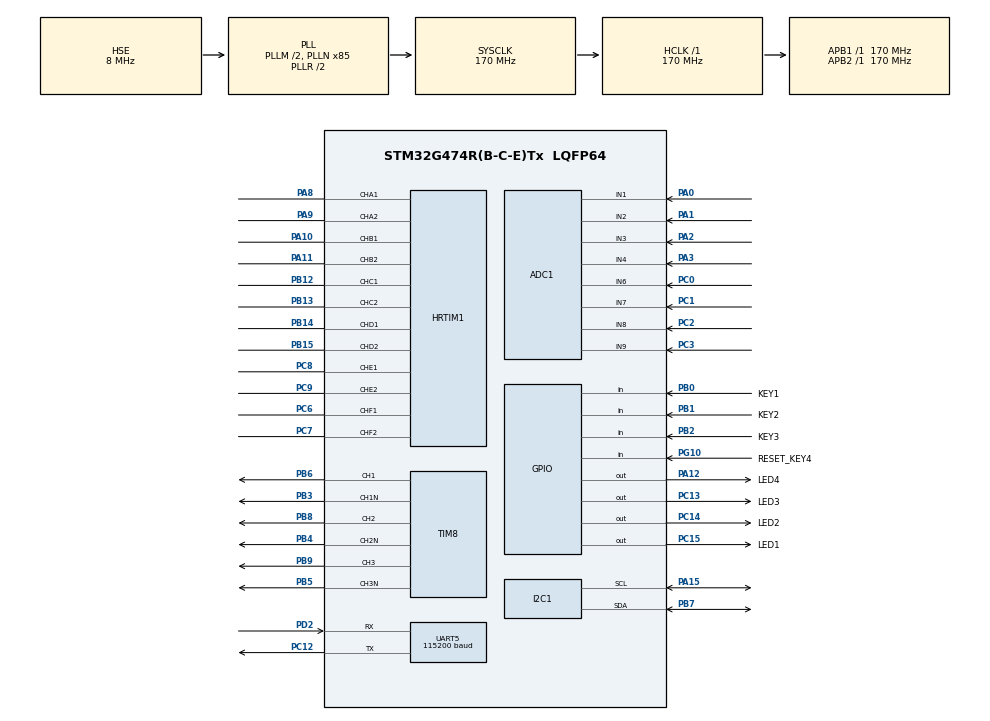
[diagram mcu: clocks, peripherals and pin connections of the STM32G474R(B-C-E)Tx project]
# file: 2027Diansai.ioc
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ADC1.Channel-0\#ChannelRegularConversion=ADC_CHANNEL_1
ADC1.Channel-1\#ChannelRegularConversion=ADC_CHANNEL_2
ADC1.Channel-2\#ChannelRegularConversion=ADC_CHANNEL_3
ADC1.Channel-3\#ChannelRegularConversion=ADC_CHANNEL_4
ADC1.Channel-4\#ChannelRegularConversion=ADC_CHANNEL_6
ADC1.Channel-5\#ChannelRegularConversion=ADC_CHANNEL_7
ADC1.Channel-6\#ChannelRegularConversion=ADC_CHANNEL_8
ADC1.Channel-7\#ChannelRegularConversion=ADC_CHANNEL_9
ADC1.ContinuousConvMode=DISABLE
ADC1.DMAContinuousRequests=ENABLE
ADC1.ExternalTrigConv=ADC_EXTERNALTRIG_T7_TRGO
ADC1.NbrOfConversion=8
ADC1.NbrOfConversionFlag=1
ADC1.OffsetNumber-0\#ChannelRegularConversion=ADC_OFFSET_NONE
ADC1.OffsetNumber-1\#ChannelRegularConversion=ADC_OFFSET_NONE
ADC1.OffsetNumber-2\#ChannelRegularConversion=ADC_OFFSET_NONE
ADC1.OffsetNumber-3\#ChannelRegularConversion=ADC_OFFSET_NONE
ADC1.OffsetNumber-4\#ChannelRegularConversion=ADC_OFFSET_NONE
ADC1.OffsetNumber-5\#ChannelRegularConversion=ADC_OFFSET_NONE
ADC1.OffsetNumber-6\#ChannelRegularConversion=ADC_OFFSET_NONE
ADC1.OffsetNumber-7\#ChannelRegularConversion=ADC_OFFSET_NONE
ADC1.Overrun=ADC_OVR_DATA_OVERWRITTEN
ADC1.Rank-0\#ChannelRegularConversion=1
ADC1.Rank-1\#ChannelRegularConversion=2
ADC1.Rank-2\#ChannelRegularConversion=3
ADC1.Rank-3\#ChannelRegularConversion=4
ADC1.Rank-4\#ChannelRegularConversion=5
ADC1.Rank-5\#ChannelRegularConversion=6
ADC1.Rank-6\#ChannelRegularConversion=7
ADC1.Rank-7\#ChannelRegularConversion=8
ADC1.SamplingTime-0\#ChannelRegularConversion=ADC_SAMPLETIME_2CYCLES_5
ADC1.SamplingTime-1\#ChannelRegularConversion=ADC_SAMPLETIME_2CYCLES_5
ADC1.SamplingTime-2\#ChannelRegularConversion=ADC_SAMPLETIME_2CYCLES_5
ADC1.SamplingTime-3\#ChannelRegularConversion=ADC_SAMPLETIME_2CYCLES_5
ADC1.SamplingTime-4\#ChannelRegularConversion=ADC_SAMPLETIME_2CYCLES_5
ADC1.SamplingTime-5\#ChannelRegularConversion=ADC_SAMPLETIME_2CYCLES_5
ADC1.SamplingTime-6\#ChannelRegularConversion=ADC_SAMPLETIME_2CYCLES_5
ADC1.SamplingTime-7\#ChannelRegularConversion=ADC_SAMPLETIME_2CYCLES_5
ADC1.master=1
Dma.ADC1.0.Direction=DMA_PERIPH_TO_MEMORY
Dma.ADC1.0.EventEnable=DISABLE
Dma.ADC1.0.Instance=DMA1_Channel1
Dma.ADC1.0.MemDataAlignment=DMA_MDATAALIGN_HALFWORD
Dma.ADC1.0.MemInc=DMA_MINC_ENABLE
Dma.ADC1.0.Mode=DMA_CIRCULAR
Dma.ADC1.0.PeriphDataAlignment=DMA_PDATAALIGN_HALFWORD
Dma.ADC1.0.PeriphInc=DMA_PINC_DISABLE
Dma.ADC1.0.Polarity=HAL_DMAMUX_REQ_GEN_RISING
Dma.ADC1.0.Priority=DMA_PRIORITY_LOW
Dma.ADC1.0.RequestNumber=1
Dma.ADC1.0.SignalID=NONE
Dma.ADC1.0.SyncEnable=DISABLE
Dma.ADC1.0.SyncPolarity=HAL_DMAMUX_SYNC_NO_EVENT
Dma.ADC1.0.SyncRequestNumber=1
Dma.ADC1.0.SyncSignalID=NONE
Dma.Request0=ADC1
HRTIM1.CompareUnit1-Output_TA1TA2=HRTIM_COMPAREUNIT_1
HRTIM1.CompareUnit1-Output_TB1TB2=HRTIM_COMPAREUNIT_1
HRTIM1.CompareUnit1-Output_TC1TC2=HRTIM_COMPAREUNIT_1
HRTIM1.CompareUnit1-Output_TD1TD2=HRTIM_COMPAREUNIT_1
HRTIM1.CompareValue1-Output_TA1TA2=20000
HRTIM1.CompareValue1-Output_TB1TB2=20000
HRTIM1.CompareValue1-Output_TC1TC2=25000
HRTIM1.CompareValue1-Output_TD1TD2=25000
HRTIM1.DeadTimeInsertion-Output_TA1TA2=HRTIM_TIMDEADTIMEINSERTION_ENABLED
HRTIM1.DeadTimeInsertion-Output_TB1TB2=HRTIM_TIMDEADTIMEINSERTION_ENABLED
HRTIM1.DeadTimeInsertion-Output_TC1TC2=HRTIM_TIMDEADTIMEINSERTION_ENABLED
HRTIM1.DeadTimeInsertion-Output_TD1TD2=HRTIM_TIMDEADTIMEINSERTION_ENABLED
HRTIM1.DeadTimeInsertion-Output_TE1TE2=HRTIM_TIMDEADTIMEINSERTION_ENABLED
HRTIM1.FallingValue-Output_TA1TA2=300
HRTIM1.FallingValue-Output_TB1TB2=300
HRTIM1.FallingValue-Output_TC1TC2=300
HRTIM1.FallingValue-Output_TD1TD2=300
HRTIM1.FallingValue-Output_TE1TE2=300
HRTIM1.InterruptRequests1-Output_TE1TE2=HRTIM_TIM_IT_UPD
HRTIM1.InterruptRequests1_Master=HRTIM_MASTER_IT_MUPD
HRTIM1.NumberInterruptRequests-Output_TA1TA2=0
HRTIM1.NumberInterruptRequests-Output_TE1TE2=1
HRTIM1.NumberInterruptRequests_Master-MasterTimer=1
HRTIM1.NumberResetSource1-Output_TA1TA2=1
HRTIM1.NumberResetSource1-Output_TB1TB2=1
HRTIM1.NumberResetSource1-Output_TC1TC2=1
HRTIM1.NumberResetSource1-Output_TD1TD2=1
HRTIM1.NumberSetSource1-Output_TA1TA2=1
HRTIM1.NumberSetSource1-Output_TB1TB2=1
HRTIM1.NumberSetSource1-Output_TC1TC2=1
HRTIM1.NumberSetSource1-Output_TD1TD2=1
HRTIM1.Periode_MASTER=54400
HRTIM1.Periode_TA=54400
HRTIM1.Periode_TB=54400
HRTIM1.Periode_TC=54400
HRTIM1.Periode_TD=54400
HRTIM1.Periode_TE=54400
HRTIM1.PreloadEnable-MasterTimer=HRTIM_PRELOAD_ENABLED
HRTIM1.PreloadEnable-Output_TA1TA2=HRTIM_PRELOAD_ENABLED
HRTIM1.PreloadEnable-Output_TB1TB2=HRTIM_PRELOAD_ENABLED
HRTIM1.PreloadEnable-Output_TC1TC2=HRTIM_PRELOAD_ENABLED
HRTIM1.PreloadEnable-Output_TD1TD2=HRTIM_PRELOAD_ENABLED
HRTIM1.PreloadEnable-Output_TE1TE2=HRTIM_PRELOAD_ENABLED
HRTIM1.PrescalerRatio_MASTER=HRTIM_PRESCALERRATIO_MUL8
HRTIM1.PrescalerRatio_TA=HRTIM_PRESCALERRATIO_MUL8
HRTIM1.PrescalerRatio_TB=HRTIM_PRESCALERRATIO_MUL8
HRTIM1.PrescalerRatio_TC=HRTIM_PRESCALERRATIO_MUL8
HRTIM1.PrescalerRatio_TD=HRTIM_PRESCALERRATIO_MUL8
HRTIM1.PrescalerRatio_TE=HRTIM_PRESCALERRATIO_MUL8
HRTIM1.RepetitionUpdate-MasterTimer=HRTIM_UPDATEONREPETITION_ENABLED
HRTIM1.RepetitionUpdate-Output_TA1TA2=HRTIM_UPDATEONREPETITION_ENABLED
HRTIM1.RepetitionUpdate-Output_TB1TB2=HRTIM_UPDATEONREPETITION_ENABLED
HRTIM1.RepetitionUpdate-Output_TC1TC2=HRTIM_UPDATEONREPETITION_ENABLED
HRTIM1.RepetitionUpdate-Output_TD1TD2=HRTIM_UPDATEONREPETITION_ENABLED
HRTIM1.RepetitionUpdate-Output_TE1TE2=HRTIM_UPDATEONREPETITION_ENABLED
HRTIM1.ResetOutput1_Source1-Output_TA1TA2=HRTIM_OUTPUTRESET_TIMCMP1
HRTIM1.ResetOutput1_Source1-Output_TB1TB2=HRTIM_OUTPUTRESET_TIMCMP1
HRTIM1.ResetOutput1_Source1-Output_TC1TC2=HRTIM_OUTPUTRESET_TIMCMP1
HRTIM1.ResetOutput1_Source1-Output_TD1TD2=HRTIM_OUTPUTRESET_TIMCMP1
HRTIM1.RisingValue-Output_TA1TA2=300
HRTIM1.RisingValue-Output_TB1TB2=300
HRTIM1.RisingValue-Output_TC1TC2=300
HRTIM1.RisingValue-Output_TD1TD2=300
HRTIM1.RisingValue-Output_TE1TE2=300
HRTIM1.SetOutput1_Source1-Output_TA1TA2=HRTIM_OUTPUTSET_MASTERPER
HRTIM1.SetOutput1_Source1-Output_TB1TB2=HRTIM_OUTPUTSET_MASTERPER
HRTIM1.SetOutput1_Source1-Output_TC1TC2=HRTIM_OUTPUTSET_MASTERPER
HRTIM1.SetOutput1_Source1-Output_TD1TD2=HRTIM_OUTPUTSET_MASTERPER
I2C1.Timing=0x40B285C2
Mcu.Family=STM32G4
Mcu.Name=STM32G474R(B-C-E)Tx
Mcu.Package=LQFP64
NVIC.HRTIM1_Master_IRQn=true\:0\:0\:false\:false\:true\:true\:true\:true
NVIC.PriorityGroup=NVIC_PRIORITYGROUP_4
NVIC.TIM20_UP_IRQn=true\:0\:0\:false\:false\:true\:true\:true\:true
NVIC.UART5_IRQn=true\:0\:0\:false\:false\:true\:false\:true\:true
PA0.Mode=IN1-Single-Ended
PA0.Signal=ADC1_IN1
PA1.Mode=IN2-Single-Ended
PA1.Signal=ADC1_IN2
PA10.Mode=Output_TB1TB2
PA10.Signal=HRTIM1_CHB1
PA11.Mode=Output_TB1TB2
PA11.Signal=HRTIM1_CHB2
PA12.GPIO_Label=LED4
PA12.Signal=GPIO_Output
PA13.Mode=Serial_Wire
PA13.Signal=SYS_JTMS-SWDIO
PA14.Mode=Serial_Wire
PA14.Signal=SYS_JTCK-SWCLK
PA15.Mode=I2C
PA15.Signal=I2C1_SCL
PA2.Mode=IN3-Single-Ended
PA2.Signal=ADC1_IN3
PA3.Mode=IN4-Single-Ended
PA3.Signal=ADC1_IN4
PA8.Mode=Output_TA1TA2
PA8.Signal=HRTIM1_CHA1
PA9.Mode=Output_TA1TA2
PA9.Signal=HRTIM1_CHA2
PB0.GPIO_Label=KEY1
PB0.Signal=GPIO_Input
PB1.GPIO_Label=KEY2
PB1.Signal=GPIO_Input
PB12.Mode=Output_TC1TC2
PB12.Signal=HRTIM1_CHC1
PB13.Mode=Output_TC1TC2
PB13.Signal=HRTIM1_CHC2
PB14.Mode=Output_TD1TD2
PB14.Signal=HRTIM1_CHD1
PB15.Mode=Output_TD1TD2
PB15.Signal=HRTIM1_CHD2
PB2.GPIO_Label=KEY3
PB2.Signal=GPIO_Input
PB3.Mode=PWM Generation1 CH1 CH1N
PB3.Signal=TIM8_CH1N
PB4.Mode=PWM Generation2 CH2 CH2N
PB4.Signal=TIM8_CH2N
PB5.Mode=PWM Generation3 CH3 CH3N
PB5.Signal=TIM8_CH3N
PB6.Signal=S_TIM8_CH1
PB7.Mode=I2C
PB7.Signal=I2C1_SDA
PB8-BOOT0.Signal=S_TIM8_CH2
PB9.Signal=S_TIM8_CH3
PC0.Mode=IN6-Single-Ended
PC0.Signal=ADC1_IN6
PC1.Mode=IN7-Single-Ended
PC1.Signal=ADC1_IN7
PC12.Mode=Asynchronous
PC12.Signal=UART5_TX
PC13.GPIO_Label=LED3
PC13.Signal=GPIO_Output
PC14-OSC32_IN.GPIO_Label=LED2
PC14-OSC32_IN.Signal=GPIO_Output
PC15-OSC32_OUT.GPIO_Label=LED1
PC15-OSC32_OUT.Signal=GPIO_Output
PC2.Mode=IN8-Single-Ended
PC2.Signal=ADC1_IN8
PC3.Mode=IN9-Single-Ended
PC3.Signal=ADC1_IN9
PC6.Mode=Output_TF1TF2
PC6.Signal=HRTIM1_CHF1
PC7.Mode=Output_TF1TF2
PC7.Signal=HRTIM1_CHF2
PC8.Mode=Output_TE1TE2
PC8.Signal=HRTIM1_CHE1
PC9.Mode=Output_TE1TE2
PC9.Signal=HRTIM1_CHE2
PD2.Mode=Asynchronous
PD2.Signal=UART5_RX
PF0-OSC_IN.Mode=HSE-External-Oscillator
PF0-OSC_IN.Signal=RCC_OSC_IN
PF1-OSC_OUT.Mode=HSE-External-Oscillator
PF1-OSC_OUT.Signal=RCC_OSC_OUT
PG10-NRST.GPIO_Label=RESET_KEY4
PG10-NRST.Signal=GPIO_Input
ProjectManager.HeapSize=0x200
ProjectManager.StackSize=0x400
ProjectManager.TargetToolchain=MDK-ARM V5.32
RCC.ADC12Freq_Value=170000000
RCC.ADC345Freq_Value=170000000
RCC.AHBFreq_Value=170000000
RCC.APB1Freq_Value=170000000
RCC.APB1TimFreq_Value=170000000
RCC.APB2Freq_Value=170000000
RCC.APB2TimFreq_Value=170000000
RCC.CortexFreq_Value=170000000
RCC.EXTERNAL_CLOCK_VALUE=12288000
RCC.HCLKFreq_Value=170000000
RCC.HSE_VALUE=8000000
RCC.HSI48_VALUE=48000000
RCC.HSI_VALUE=16000000
RCC.LSE_VALUE=32768
RCC.PLLM=RCC_PLLM_DIV2
RCC.PLLN=85
RCC.PLLSourceVirtual=RCC_PLLSOURCE_HSE
RCC.SYSCLKFreq_VALUE=170000000
RCC.SYSCLKSource=RCC_SYSCLKSOURCE_PLLCLK
RCC.USBFreq_Value=170000000
RCC.VCOOutputFreq_Value=340000000
SH.S_TIM8_CH1.0=TIM8_CH1,PWM Generation1 CH1 CH1N
SH.S_TIM8_CH2.0=TIM8_CH2,PWM Generation2 CH2 CH2N
SH.S_TIM8_CH3.0=TIM8_CH3,PWM Generation3 CH3 CH3N
TIM20.PeriodNoDither=999
TIM20.Prescaler=169
TIM7.AutoReloadPreload=TIM_AUTORELOAD_PRELOAD_ENABLE
TIM7.PeriodNoDither=100-1
TIM7.Prescaler=169
TIM7.TIM_MasterOutputTrigger=TIM_TRGO_UPDATE
TIM8.Channel-PWM\ Generation1\ CH1\ CH1N=TIM_CHANNEL_1
TIM8.Channel-PWM\ Generation2\ CH2\ CH2N=TIM_CHANNEL_2
TIM8.Channel-PWM\ Generation3\ CH3\ CH3N=TIM_CHANNEL_3
UART5.BaudRate=115200
VP_HRTIM1_VS_hrtimMasterTimerNoOutput.Mode=MasterTimer
VP_SYS_VS_DBSignals.Mode=DisableDeadBatterySignals
VP_TIM20_VS_ClockSourceINT.Mode=Internal
VP_TIM7_VS_ClockSourceINT.Mode=Enable_Timer
board=custom

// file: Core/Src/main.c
/* USER CODE BEGIN Header */
/**
  ******************************************************************************
  * @file           : main.c
  * @brief          : Main program body
  ******************************************************************************
  * @attention
  *
  * Copyright (c) 2026 STMicroelectronics.
  * All rights reserved.
  *
  * This software is licensed under terms that can be found in the LICENSE file
  * in the root directory of this software component.
  * If no LICENSE file comes with this software, it is provided AS-IS.
  *
  ******************************************************************************
  */
/* USER CODE END Header */
#include "main.h"
#include "adc.h"
#include "dma.h"
#include "hrtim.h"
#include "i2c.h"
#include "tim.h"
#include "usart.h"
#include "gpio.h"

/* USER CODE BEGIN Includes */
#include "oled.h"
#include "led.h"
#include "interrupt.h"
#include "selfadc.h"
#include "control.h"
#include "buckboost.h"
#include <string.h>
#include <stdio.h>
/* USER CODE END Includes */

/* USER CODE BEGIN PTD */
extern uint16_t values[ADC_CHANNEL_NUM];
extern float voltages[ADC_CHANNEL_NUM];
/* USER CODE END PTD */

void SystemClock_Config(void);

int main(void)
{

  /* MCU Configuration--------------------------------------------------------*/

  /* Reset of all peripherals, Initializes the Flash interface and the Systick. */
  HAL_Init();

  /* Configure the system clock */
  SystemClock_Config();

  /* Initialize all configured peripherals */
  MX_GPIO_Init();
  MX_DMA_Init();
  MX_ADC1_Init();
  MX_HRTIM1_Init();
  MX_I2C1_Init();
  MX_TIM8_Init();
  MX_TIM20_Init();
  MX_TIM7_Init();
  MX_UART5_Init();
  /* USER CODE BEGIN 2 */
	// ADC
	HAL_ADCEx_Calibration_Start(&hadc1, ADC_SINGLE_ENDED);//У׼
	HAL_ADC_Start_DMA(&hadc1,(uint32_t*)values,8);//����DMA
	HAL_TIM_Base_Start(&htim7);
	// 拓扑：先建这一版的对象并交给框架，再启动 HRTIM
	BuckBoost_Build();
	Control_Init();
	// TIM
	// 必须放在 Control_Init() 之后：否则 1ms 节拍会先跑起来，
	// 用未初始化的 BuckBoost_t（pwm 字段为 0 = Timer A）去驱动 PWM
	HAL_TIM_Base_Start_IT(&htim20);
	// LED
    LED_ON_All();
	// OLED
    OLED_Init();
    OLED_Clear();
	LED_OFF_All();
  /* USER CODE END 2 */

  /* Infinite loop */
  while (1)
  {

    /* USER CODE BEGIN 3 */
	  Control_Display();   /* OLED 是阻塞写，只能在主循环里调，绝不进中断 */
  }
  /* USER CODE END 3 */
}

void SystemClock_Config(void)
{
  RCC_OscInitTypeDef RCC_OscInitStruct = {0};
  RCC_ClkInitTypeDef RCC_ClkInitStruct = {0};

  /** Configure the main internal regulator output voltage
  */
  HAL_PWREx_ControlVoltageScaling(PWR_REGULATOR_VOLTAGE_SCALE1_BOOST);

  /** Initializes the RCC Oscillators according to the specified parameters
  * in the RCC_OscInitTypeDef structure.
  */
  RCC_OscInitStruct.OscillatorType = RCC_OSCILLATORTYPE_HSE;
  RCC_OscInitStruct.HSEState = RCC_HSE_ON;
  RCC_OscInitStruct.PLL.PLLState = RCC_PLL_ON;
  RCC_OscInitStruct.PLL.PLLSource = RCC_PLLSOURCE_HSE;
  RCC_OscInitStruct.PLL.PLLM = RCC_PLLM_DIV2;
  RCC_OscInitStruct.PLL.PLLN = 85;
  RCC_OscInitStruct.PLL.PLLP = RCC_PLLP_DIV2;
  RCC_OscInitStruct.PLL.PLLQ = RCC_PLLQ_DIV2;
  RCC_OscInitStruct.PLL.PLLR = RCC_PLLR_DIV2;
  if (HAL_RCC_OscConfig(&RCC_OscInitStruct) != HAL_OK)
  {
    Error_Handler();
  }

  /** Initializes the CPU, AHB and APB buses clocks
  */
  RCC_ClkInitStruct.ClockType = RCC_CLOCKTYPE_HCLK|RCC_CLOCKTYPE_SYSCLK
                              |RCC_CLOCKTYPE_PCLK1|RCC_CLOCKTYPE_PCLK2;
  RCC_ClkInitStruct.SYSCLKSource = RCC_SYSCLKSOURCE_PLLCLK;
  RCC_ClkInitStruct.AHBCLKDivider = RCC_SYSCLK_DIV1;
  RCC_ClkInitStruct.APB1CLKDivider = RCC_HCLK_DIV1;
  RCC_ClkInitStruct.APB2CLKDivider = RCC_HCLK_DIV1;

  if (HAL_RCC_ClockConfig(&RCC_ClkInitStruct, FLASH_LATENCY_4) != HAL_OK)
  {
    Error_Handler();
  }
}

void Error_Handler(void)
{
  __disable_irq();
  while (1)
  {
  }
}
